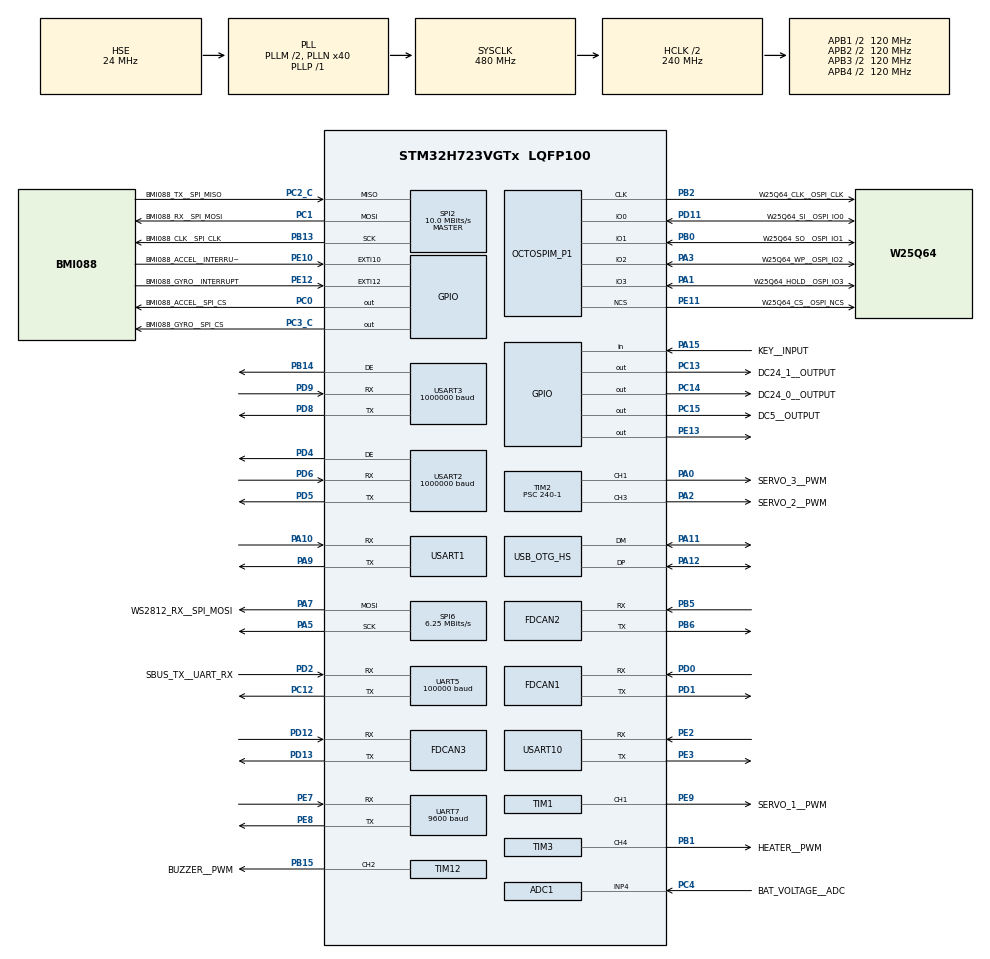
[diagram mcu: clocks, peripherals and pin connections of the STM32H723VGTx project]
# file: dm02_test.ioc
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ADC1.Channel-0\#ChannelRegularConversion=ADC_CHANNEL_4
ADC1.ClockPrescaler=ADC_CLOCK_ASYNC_DIV128
ADC1.ContinuousConvMode=ENABLE
ADC1.ConversionDataManagement=ADC_CONVERSIONDATA_DMA_CIRCULAR
ADC1.NbrOfConversion=1
ADC1.NbrOfConversionFlag=1
ADC1.OffsetNumber-0\#ChannelRegularConversion=ADC_OFFSET_NONE
ADC1.OffsetSignedSaturation-0\#ChannelRegularConversion=DISABLE
ADC1.Rank-0\#ChannelRegularConversion=1
ADC1.SamplingTime-0\#ChannelRegularConversion=ADC_SAMPLETIME_32CYCLES_5
ADC1.master=1
CORTEX_M7.BaseAddress_Spec=0x24000000
CORTEX_M7.CPU_DCache=Disabled
CORTEX_M7.CPU_ICache=Enabled
CORTEX_M7.DisableExec_Spec=MPU_INSTRUCTION_ACCESS_ENABLE
CORTEX_M7.IsBufferable_Spec=MPU_ACCESS_BUFFERABLE
CORTEX_M7.IsCacheable_Spec=MPU_ACCESS_CACHEABLE
CORTEX_M7.IsShareable_Spec=MPU_ACCESS_NOT_SHAREABLE
CORTEX_M7.MPU_Control=__NULL
CORTEX_M7.Size_Spec=MPU_REGION_SIZE_512KB
CORTEX_M7.SubRegionDisable_Spec=0x0
CORTEX_M7.TypeExtField_Spec=MPU_TEX_LEVEL1
CORTEX_M7.default_mode_Activation=1
Dma.ADC1.13.Direction=DMA_PERIPH_TO_MEMORY
Dma.ADC1.13.EventEnable=DISABLE
Dma.ADC1.13.FIFOMode=DMA_FIFOMODE_DISABLE
Dma.ADC1.13.Instance=DMA2_Stream5
Dma.ADC1.13.MemDataAlignment=DMA_MDATAALIGN_HALFWORD
Dma.ADC1.13.MemInc=DMA_MINC_ENABLE
Dma.ADC1.13.Mode=DMA_CIRCULAR
Dma.ADC1.13.PeriphDataAlignment=DMA_PDATAALIGN_HALFWORD
Dma.ADC1.13.PeriphInc=DMA_PINC_DISABLE
Dma.ADC1.13.Polarity=HAL_DMAMUX_REQ_GEN_RISING
Dma.ADC1.13.Priority=DMA_PRIORITY_LOW
Dma.ADC1.13.RequestNumber=1
Dma.ADC1.13.SignalID=NONE
Dma.ADC1.13.SyncEnable=DISABLE
Dma.ADC1.13.SyncPolarity=HAL_DMAMUX_SYNC_NO_EVENT
Dma.ADC1.13.SyncRequestNumber=1
Dma.ADC1.13.SyncSignalID=NONE
Dma.Request0=USART2_RX
Dma.Request1=USART2_TX
Dma.Request10=USART10_TX
Dma.Request11=SPI2_RX
Dma.Request12=SPI2_TX
Dma.Request13=ADC1
Dma.Request2=USART3_RX
Dma.Request3=USART3_TX
Dma.Request4=UART5_RX
Dma.Request5=USART1_RX
Dma.Request6=USART1_TX
Dma.Request7=UART7_RX
Dma.Request8=UART7_TX
Dma.Request9=USART10_RX
Dma.SPI2_RX.11.Direction=DMA_PERIPH_TO_MEMORY
Dma.SPI2_RX.11.EventEnable=DISABLE
Dma.SPI2_RX.11.FIFOMode=DMA_FIFOMODE_ENABLE
Dma.SPI2_RX.11.FIFOThreshold=DMA_FIFO_THRESHOLD_FULL
Dma.SPI2_RX.11.Instance=DMA2_Stream3
Dma.SPI2_RX.11.MemBurst=DMA_MBURST_SINGLE
Dma.SPI2_RX.11.MemDataAlignment=DMA_MDATAALIGN_BYTE
Dma.SPI2_RX.11.MemInc=DMA_MINC_ENABLE
Dma.SPI2_RX.11.Mode=DMA_NORMAL
Dma.SPI2_RX.11.PeriphBurst=DMA_PBURST_SINGLE
Dma.SPI2_RX.11.PeriphDataAlignment=DMA_PDATAALIGN_BYTE
Dma.SPI2_RX.11.PeriphInc=DMA_PINC_DISABLE
Dma.SPI2_RX.11.Polarity=HAL_DMAMUX_REQ_GEN_RISING
Dma.SPI2_RX.11.Priority=DMA_PRIORITY_LOW
Dma.SPI2_RX.11.RequestNumber=1
Dma.SPI2_RX.11.SignalID=NONE
Dma.SPI2_RX.11.SyncEnable=DISABLE
Dma.SPI2_RX.11.SyncPolarity=HAL_DMAMUX_SYNC_NO_EVENT
Dma.SPI2_RX.11.SyncRequestNumber=1
Dma.SPI2_RX.11.SyncSignalID=NONE
Dma.SPI2_TX.12.Direction=DMA_MEMORY_TO_PERIPH
Dma.SPI2_TX.12.EventEnable=DISABLE
Dma.SPI2_TX.12.FIFOMode=DMA_FIFOMODE_DISABLE
Dma.SPI2_TX.12.Instance=DMA2_Stream4
Dma.SPI2_TX.12.MemDataAlignment=DMA_MDATAALIGN_BYTE
Dma.SPI2_TX.12.MemInc=DMA_MINC_ENABLE
Dma.SPI2_TX.12.Mode=DMA_NORMAL
Dma.SPI2_TX.12.PeriphDataAlignment=DMA_PDATAALIGN_BYTE
Dma.SPI2_TX.12.PeriphInc=DMA_PINC_DISABLE
Dma.SPI2_TX.12.Polarity=HAL_DMAMUX_REQ_GEN_RISING
Dma.SPI2_TX.12.Priority=DMA_PRIORITY_LOW
Dma.SPI2_TX.12.RequestNumber=1
Dma.SPI2_TX.12.SignalID=NONE
Dma.SPI2_TX.12.SyncEnable=DISABLE
Dma.SPI2_TX.12.SyncPolarity=HAL_DMAMUX_SYNC_NO_EVENT
Dma.SPI2_TX.12.SyncRequestNumber=1
Dma.SPI2_TX.12.SyncSignalID=NONE
Dma.UART5_RX.4.Direction=DMA_PERIPH_TO_MEMORY
Dma.UART5_RX.4.EventEnable=DISABLE
Dma.UART5_RX.4.FIFOMode=DMA_FIFOMODE_ENABLE
Dma.UART5_RX.4.FIFOThreshold=DMA_FIFO_THRESHOLD_FULL
Dma.UART5_RX.4.Instance=DMA1_Stream4
Dma.UART5_RX.4.MemBurst=DMA_MBURST_SINGLE
Dma.UART5_RX.4.MemDataAlignment=DMA_MDATAALIGN_BYTE
Dma.UART5_RX.4.MemInc=DMA_MINC_ENABLE
Dma.UART5_RX.4.Mode=DMA_NORMAL
Dma.UART5_RX.4.PeriphBurst=DMA_PBURST_SINGLE
Dma.UART5_RX.4.PeriphDataAlignment=DMA_PDATAALIGN_BYTE
Dma.UART5_RX.4.PeriphInc=DMA_PINC_DISABLE
Dma.UART5_RX.4.Polarity=HAL_DMAMUX_REQ_GEN_RISING
Dma.UART5_RX.4.Priority=DMA_PRIORITY_LOW
Dma.UART5_RX.4.RequestNumber=1
Dma.UART5_RX.4.SignalID=NONE
Dma.UART5_RX.4.SyncEnable=DISABLE
Dma.UART5_RX.4.SyncPolarity=HAL_DMAMUX_SYNC_NO_EVENT
Dma.UART5_RX.4.SyncRequestNumber=1
Dma.UART5_RX.4.SyncSignalID=NONE
Dma.UART7_RX.7.Direction=DMA_PERIPH_TO_MEMORY
Dma.UART7_RX.7.EventEnable=DISABLE
Dma.UART7_RX.7.FIFOMode=DMA_FIFOMODE_ENABLE
Dma.UART7_RX.7.FIFOThreshold=DMA_FIFO_THRESHOLD_FULL
Dma.UART7_RX.7.Instance=DMA1_Stream7
Dma.UART7_RX.7.MemBurst=DMA_MBURST_SINGLE
Dma.UART7_RX.7.MemDataAlignment=DMA_MDATAALIGN_BYTE
Dma.UART7_RX.7.MemInc=DMA_MINC_ENABLE
Dma.UART7_RX.7.Mode=DMA_NORMAL
Dma.UART7_RX.7.PeriphBurst=DMA_PBURST_SINGLE
Dma.UART7_RX.7.PeriphDataAlignment=DMA_PDATAALIGN_BYTE
Dma.UART7_RX.7.PeriphInc=DMA_PINC_DISABLE
Dma.UART7_RX.7.Polarity=HAL_DMAMUX_REQ_GEN_RISING
Dma.UART7_RX.7.Priority=DMA_PRIORITY_LOW
Dma.UART7_RX.7.RequestNumber=1
Dma.UART7_RX.7.SignalID=NONE
Dma.UART7_RX.7.SyncEnable=DISABLE
Dma.UART7_RX.7.SyncPolarity=HAL_DMAMUX_SYNC_NO_EVENT
Dma.UART7_RX.7.SyncRequestNumber=1
Dma.UART7_RX.7.SyncSignalID=NONE
Dma.UART7_TX.8.Direction=DMA_MEMORY_TO_PERIPH
Dma.UART7_TX.8.EventEnable=DISABLE
Dma.UART7_TX.8.FIFOMode=DMA_FIFOMODE_ENABLE
Dma.UART7_TX.8.FIFOThreshold=DMA_FIFO_THRESHOLD_FULL
Dma.UART7_TX.8.Instance=DMA2_Stream0
Dma.UART7_TX.8.MemBurst=DMA_MBURST_SINGLE
Dma.UART7_TX.8.MemDataAlignment=DMA_MDATAALIGN_BYTE
Dma.UART7_TX.8.MemInc=DMA_MINC_ENABLE
Dma.UART7_TX.8.Mode=DMA_NORMAL
Dma.UART7_TX.8.PeriphBurst=DMA_PBURST_SINGLE
Dma.UART7_TX.8.PeriphDataAlignment=DMA_PDATAALIGN_BYTE
Dma.UART7_TX.8.PeriphInc=DMA_PINC_DISABLE
Dma.UART7_TX.8.Polarity=HAL_DMAMUX_REQ_GEN_RISING
Dma.UART7_TX.8.Priority=DMA_PRIORITY_LOW
Dma.UART7_TX.8.RequestNumber=1
Dma.UART7_TX.8.SignalID=NONE
Dma.UART7_TX.8.SyncEnable=DISABLE
Dma.UART7_TX.8.SyncPolarity=HAL_DMAMUX_SYNC_NO_EVENT
Dma.UART7_TX.8.SyncRequestNumber=1
Dma.UART7_TX.8.SyncSignalID=NONE
Dma.USART10_RX.9.Direction=DMA_PERIPH_TO_MEMORY
Dma.USART10_RX.9.EventEnable=DISABLE
Dma.USART10_RX.9.FIFOMode=DMA_FIFOMODE_DISABLE
Dma.USART10_RX.9.Instance=DMA2_Stream1
Dma.USART10_RX.9.MemDataAlignment=DMA_MDATAALIGN_BYTE
Dma.USART10_RX.9.MemInc=DMA_MINC_ENABLE
Dma.USART10_RX.9.Mode=DMA_NORMAL
Dma.USART10_RX.9.PeriphDataAlignment=DMA_PDATAALIGN_BYTE
Dma.USART10_RX.9.PeriphInc=DMA_PINC_DISABLE
Dma.USART10_RX.9.Polarity=HAL_DMAMUX_REQ_GEN_RISING
Dma.USART10_RX.9.Priority=DMA_PRIORITY_LOW
Dma.USART10_RX.9.RequestNumber=1
Dma.USART10_RX.9.SignalID=NONE
Dma.USART10_RX.9.SyncEnable=DISABLE
Dma.USART10_RX.9.SyncPolarity=HAL_DMAMUX_SYNC_NO_EVENT
Dma.USART10_RX.9.SyncRequestNumber=1
Dma.USART10_RX.9.SyncSignalID=NONE
Dma.USART10_TX.10.Direction=DMA_MEMORY_TO_PERIPH
Dma.USART10_TX.10.EventEnable=DISABLE
Dma.USART10_TX.10.FIFOMode=DMA_FIFOMODE_DISABLE
Dma.USART10_TX.10.Instance=DMA2_Stream2
Dma.USART10_TX.10.MemDataAlignment=DMA_MDATAALIGN_BYTE
Dma.USART10_TX.10.MemInc=DMA_MINC_ENABLE
Dma.USART10_TX.10.Mode=DMA_NORMAL
Dma.USART10_TX.10.PeriphDataAlignment=DMA_PDATAALIGN_BYTE
Dma.USART10_TX.10.PeriphInc=DMA_PINC_DISABLE
Dma.USART10_TX.10.Polarity=HAL_DMAMUX_REQ_GEN_RISING
Dma.USART10_TX.10.Priority=DMA_PRIORITY_LOW
Dma.USART10_TX.10.RequestNumber=1
Dma.USART10_TX.10.SignalID=NONE
Dma.USART10_TX.10.SyncEnable=DISABLE
Dma.USART10_TX.10.SyncPolarity=HAL_DMAMUX_SYNC_NO_EVENT
Dma.USART10_TX.10.SyncRequestNumber=1
Dma.USART10_TX.10.SyncSignalID=NONE
Dma.USART1_RX.5.Direction=DMA_PERIPH_TO_MEMORY
Dma.USART1_RX.5.EventEnable=DISABLE
Dma.USART1_RX.5.FIFOMode=DMA_FIFOMODE_ENABLE
Dma.USART1_RX.5.FIFOThreshold=DMA_FIFO_THRESHOLD_FULL
Dma.USART1_RX.5.Instance=DMA1_Stream5
Dma.USART1_RX.5.MemBurst=DMA_MBURST_SINGLE
Dma.USART1_RX.5.MemDataAlignment=DMA_MDATAALIGN_BYTE
Dma.USART1_RX.5.MemInc=DMA_MINC_ENABLE
Dma.USART1_RX.5.Mode=DMA_NORMAL
Dma.USART1_RX.5.PeriphBurst=DMA_PBURST_SINGLE
Dma.USART1_RX.5.PeriphDataAlignment=DMA_PDATAALIGN_BYTE
Dma.USART1_RX.5.PeriphInc=DMA_PINC_DISABLE
Dma.USART1_RX.5.Polarity=HAL_DMAMUX_REQ_GEN_RISING
Dma.USART1_RX.5.Priority=DMA_PRIORITY_LOW
Dma.USART1_RX.5.RequestNumber=1
Dma.USART1_RX.5.SignalID=NONE
Dma.USART1_RX.5.SyncEnable=DISABLE
Dma.USART1_RX.5.SyncPolarity=HAL_DMAMUX_SYNC_NO_EVENT
Dma.USART1_RX.5.SyncRequestNumber=1
Dma.USART1_RX.5.SyncSignalID=NONE
Dma.USART1_TX.6.Direction=DMA_MEMORY_TO_PERIPH
Dma.USART1_TX.6.EventEnable=DISABLE
Dma.USART1_TX.6.FIFOMode=DMA_FIFOMODE_ENABLE
Dma.USART1_TX.6.FIFOThreshold=DMA_FIFO_THRESHOLD_FULL
Dma.USART1_TX.6.Instance=DMA1_Stream6
Dma.USART1_TX.6.MemBurst=DMA_MBURST_SINGLE
Dma.USART1_TX.6.MemDataAlignment=DMA_MDATAALIGN_BYTE
Dma.USART1_TX.6.MemInc=DMA_MINC_ENABLE
Dma.USART1_TX.6.Mode=DMA_NORMAL
Dma.USART1_TX.6.PeriphBurst=DMA_PBURST_SINGLE
Dma.USART1_TX.6.PeriphDataAlignment=DMA_PDATAALIGN_BYTE
Dma.USART1_TX.6.PeriphInc=DMA_PINC_DISABLE
Dma.USART1_TX.6.Polarity=HAL_DMAMUX_REQ_GEN_RISING
Dma.USART1_TX.6.Priority=DMA_PRIORITY_LOW
Dma.USART1_TX.6.RequestNumber=1
Dma.USART1_TX.6.SignalID=NONE
Dma.USART1_TX.6.SyncEnable=DISABLE
Dma.USART1_TX.6.SyncPolarity=HAL_DMAMUX_SYNC_NO_EVENT
Dma.USART1_TX.6.SyncRequestNumber=1
Dma.USART1_TX.6.SyncSignalID=NONE
Dma.USART2_RX.0.Direction=DMA_PERIPH_TO_MEMORY
Dma.USART2_RX.0.EventEnable=DISABLE
Dma.USART2_RX.0.FIFOMode=DMA_FIFOMODE_ENABLE
Dma.USART2_RX.0.FIFOThreshold=DMA_FIFO_THRESHOLD_FULL
Dma.USART2_RX.0.Instance=DMA1_Stream1
Dma.USART2_RX.0.MemBurst=DMA_MBURST_SINGLE
Dma.USART2_RX.0.MemDataAlignment=DMA_MDATAALIGN_BYTE
Dma.USART2_RX.0.MemInc=DMA_MINC_ENABLE
Dma.USART2_RX.0.Mode=DMA_NORMAL
Dma.USART2_RX.0.PeriphBurst=DMA_PBURST_SINGLE
Dma.USART2_RX.0.PeriphDataAlignment=DMA_PDATAALIGN_BYTE
Dma.USART2_RX.0.PeriphInc=DMA_PINC_DISABLE
Dma.USART2_RX.0.Polarity=HAL_DMAMUX_REQ_GEN_RISING
Dma.USART2_RX.0.Priority=DMA_PRIORITY_LOW
Dma.USART2_RX.0.RequestNumber=1
Dma.USART2_RX.0.SignalID=NONE
Dma.USART2_RX.0.SyncEnable=DISABLE
Dma.USART2_RX.0.SyncPolarity=HAL_DMAMUX_SYNC_NO_EVENT
Dma.USART2_RX.0.SyncRequestNumber=1
Dma.USART2_RX.0.SyncSignalID=NONE
Dma.USART2_TX.1.Direction=DMA_MEMORY_TO_PERIPH
Dma.USART2_TX.1.EventEnable=DISABLE
Dma.USART2_TX.1.FIFOMode=DMA_FIFOMODE_ENABLE
Dma.USART2_TX.1.FIFOThreshold=DMA_FIFO_THRESHOLD_FULL
Dma.USART2_TX.1.Instance=DMA1_Stream0
Dma.USART2_TX.1.MemBurst=DMA_MBURST_SINGLE
Dma.USART2_TX.1.MemDataAlignment=DMA_MDATAALIGN_BYTE
Dma.USART2_TX.1.MemInc=DMA_MINC_ENABLE
Dma.USART2_TX.1.Mode=DMA_NORMAL
Dma.USART2_TX.1.PeriphBurst=DMA_PBURST_SINGLE
Dma.USART2_TX.1.PeriphDataAlignment=DMA_PDATAALIGN_BYTE
Dma.USART2_TX.1.PeriphInc=DMA_PINC_DISABLE
Dma.USART2_TX.1.Polarity=HAL_DMAMUX_REQ_GEN_RISING
Dma.USART2_TX.1.Priority=DMA_PRIORITY_LOW
Dma.USART2_TX.1.RequestNumber=1
Dma.USART2_TX.1.SignalID=NONE
Dma.USART2_TX.1.SyncEnable=DISABLE
Dma.USART2_TX.1.SyncPolarity=HAL_DMAMUX_SYNC_NO_EVENT
Dma.USART2_TX.1.SyncRequestNumber=1
Dma.USART2_TX.1.SyncSignalID=NONE
Dma.USART3_RX.2.Direction=DMA_PERIPH_TO_MEMORY
Dma.USART3_RX.2.EventEnable=DISABLE
Dma.USART3_RX.2.FIFOMode=DMA_FIFOMODE_ENABLE
Dma.USART3_RX.2.FIFOThreshold=DMA_FIFO_THRESHOLD_FULL
Dma.USART3_RX.2.Instance=DMA1_Stream2
Dma.USART3_RX.2.MemBurst=DMA_MBURST_SINGLE
Dma.USART3_RX.2.MemDataAlignment=DMA_MDATAALIGN_BYTE
Dma.USART3_RX.2.MemInc=DMA_MINC_ENABLE
Dma.USART3_RX.2.Mode=DMA_NORMAL
Dma.USART3_RX.2.PeriphBurst=DMA_PBURST_SINGLE
Dma.USART3_RX.2.PeriphDataAlignment=DMA_PDATAALIGN_BYTE
Dma.USART3_RX.2.PeriphInc=DMA_PINC_DISABLE
Dma.USART3_RX.2.Polarity=HAL_DMAMUX_REQ_GEN_RISING
Dma.USART3_RX.2.Priority=DMA_PRIORITY_LOW
Dma.USART3_RX.2.RequestNumber=1
Dma.USART3_RX.2.SignalID=NONE
Dma.USART3_RX.2.SyncEnable=DISABLE
Dma.USART3_RX.2.SyncPolarity=HAL_DMAMUX_SYNC_NO_EVENT
Dma.USART3_RX.2.SyncRequestNumber=1
Dma.USART3_RX.2.SyncSignalID=NONE
Dma.USART3_TX.3.Direction=DMA_MEMORY_TO_PERIPH
Dma.USART3_TX.3.EventEnable=DISABLE
Dma.USART3_TX.3.FIFOMode=DMA_FIFOMODE_ENABLE
Dma.USART3_TX.3.FIFOThreshold=DMA_FIFO_THRESHOLD_FULL
Dma.USART3_TX.3.Instance=DMA1_Stream3
Dma.USART3_TX.3.MemBurst=DMA_MBURST_SINGLE
Dma.USART3_TX.3.MemDataAlignment=DMA_MDATAALIGN_BYTE
Dma.USART3_TX.3.MemInc=DMA_MINC_ENABLE
Dma.USART3_TX.3.Mode=DMA_NORMAL
Dma.USART3_TX.3.PeriphBurst=DMA_PBURST_SINGLE
Dma.USART3_TX.3.PeriphDataAlignment=DMA_PDATAALIGN_BYTE
Dma.USART3_TX.3.PeriphInc=DMA_PINC_DISABLE
Dma.USART3_TX.3.Polarity=HAL_DMAMUX_REQ_GEN_RISING
Dma.USART3_TX.3.Priority=DMA_PRIORITY_LOW
Dma.USART3_TX.3.RequestNumber=1
Dma.USART3_TX.3.SignalID=NONE
Dma.USART3_TX.3.SyncEnable=DISABLE
Dma.USART3_TX.3.SyncPolarity=HAL_DMAMUX_SYNC_NO_EVENT
Dma.USART3_TX.3.SyncRequestNumber=1
Dma.USART3_TX.3.SyncSignalID=NONE
FDCAN1.AutoRetransmission=ENABLE
FDCAN1.CalculateBaudRateNominal=1000000
FDCAN1.CalculateTimeBitNominal=1000
FDCAN1.CalculateTimeQuantumNominal=25.0
FDCAN1.DataPrescaler=3
FDCAN1.DataSyncJumpWidth=10
FDCAN1.DataTimeSeg1=29
FDCAN1.DataTimeSeg2=10
FDCAN1.NominalPrescaler=3
FDCAN1.NominalSyncJumpWidth=10
FDCAN1.NominalTimeSeg1=29
FDCAN1.NominalTimeSeg2=10
FDCAN1.ProtocolException=DISABLE
FDCAN1.RxFifo0ElmtsNbr=16
FDCAN1.RxFifo1ElmtsNbr=0
FDCAN1.StdFiltersNbr=1
FDCAN1.TxFifoQueueElmtsNbr=8
FDCAN2.AutoRetransmission=ENABLE
FDCAN2.CalculateBaudRateNominal=1000000
FDCAN2.CalculateTimeBitNominal=1000
FDCAN2.CalculateTimeQuantumNominal=25.0
FDCAN2.DataPrescaler=3
FDCAN2.DataSyncJumpWidth=10
FDCAN2.DataTimeSeg1=29
FDCAN2.DataTimeSeg2=10
FDCAN2.MessageRAMOffset=853
FDCAN2.NominalPrescaler=3
FDCAN2.NominalSyncJumpWidth=10
FDCAN2.NominalTimeSeg1=29
FDCAN2.NominalTimeSeg2=10
FDCAN2.RxFifo0ElmtsNbr=16
FDCAN2.RxFifo1ElmtsNbr=0
FDCAN2.StdFiltersNbr=1
FDCAN2.TxFifoQueueElmtsNbr=8
FDCAN3.AutoRetransmission=ENABLE
FDCAN3.CalculateBaudRateNominal=1000000
FDCAN3.CalculateTimeBitNominal=1000
FDCAN3.CalculateTimeQuantumNominal=25.0
FDCAN3.DataPrescaler=3
FDCAN3.DataSyncJumpWidth=10
FDCAN3.DataTimeSeg1=29
FDCAN3.DataTimeSeg2=10
FDCAN3.MessageRAMOffset=1706
FDCAN3.NominalPrescaler=3
FDCAN3.NominalSyncJumpWidth=10
FDCAN3.NominalTimeSeg1=29
FDCAN3.NominalTimeSeg2=10
FDCAN3.RxFifo0ElmtsNbr=16
FDCAN3.RxFifo1ElmtsNbr=0
FDCAN3.StdFiltersNbr=1
FDCAN3.TxFifoQueueElmtsNbr=8
FREERTOS.Tasks01=Task_KFS_Arm,24,512,Task_KFS_Arm_main,Default,NULL,Dynamic,NULL,NULL;Task_UART,8,512,Task_UART_main,Default,NULL,Dynamic,NULL,NULL;HandleClamping_,24,512,StartHandleClamping_Task,Default,NULL,Dynamic,NULL,NULL;Chassis,8,512,StartTaskChassis,Default,NULL,Dynamic,NULL,NULL
IWDG1.Prescaler=IWDG_PRESCALER_256
IWDG1.Reload=1023
IWDG1.Window=1023
Mcu.Family=STM32H7
Mcu.Name=STM32H723VGTx
Mcu.Package=LQFP100
Mdma.MDMA_Channel0.OCTOSPI2_FIFO_TH.0.BlockCount=0
Mdma.MDMA_Channel0.OCTOSPI2_FIFO_TH.0.BlockDataLength=0
Mdma.MDMA_Channel0.OCTOSPI2_FIFO_TH.0.BufferTransferLength=1
Mdma.MDMA_Channel0.OCTOSPI2_FIFO_TH.0.CircularMode=MDMA_LINEAR_LIST
Mdma.MDMA_Channel0.OCTOSPI2_FIFO_TH.0.DataAlignment=MDMA_DATAALIGN_PACKENABLE
Mdma.MDMA_Channel0.OCTOSPI2_FIFO_TH.0.DestBlockAddressOffset=0
Mdma.MDMA_Channel0.OCTOSPI2_FIFO_TH.0.DestBurst=MDMA_DEST_BURST_SINGLE
Mdma.MDMA_Channel0.OCTOSPI2_FIFO_TH.0.DestDataSize=MDMA_DEST_DATASIZE_BYTE
Mdma.MDMA_Channel0.OCTOSPI2_FIFO_TH.0.DestinationInc=MDMA_DEST_INC_BYTE
Mdma.MDMA_Channel0.OCTOSPI2_FIFO_TH.0.DstAddress=0
Mdma.MDMA_Channel0.OCTOSPI2_FIFO_TH.0.Endianness=MDMA_LITTLE_ENDIANNESS_PRESERVE
Mdma.MDMA_Channel0.OCTOSPI2_FIFO_TH.0.Instance=MDMA_Channel0
Mdma.MDMA_Channel0.OCTOSPI2_FIFO_TH.0.MaskAddress=0
Mdma.MDMA_Channel0.OCTOSPI2_FIFO_TH.0.MaskData=0
Mdma.MDMA_Channel0.OCTOSPI2_FIFO_TH.0.Priority=MDMA_PRIORITY_LOW
Mdma.MDMA_Channel0.OCTOSPI2_FIFO_TH.0.Rank=First
Mdma.MDMA_Channel0.OCTOSPI2_FIFO_TH.0.SourceBlockAddressOffset=0
Mdma.MDMA_Channel0.OCTOSPI2_FIFO_TH.0.SourceBurst=MDMA_SOURCE_BURST_SINGLE
Mdma.MDMA_Channel0.OCTOSPI2_FIFO_TH.0.SourceDataSize=MDMA_SRC_DATASIZE_BYTE
Mdma.MDMA_Channel0.OCTOSPI2_FIFO_TH.0.SourceInc=MDMA_SRC_INC_BYTE
Mdma.MDMA_Channel0.OCTOSPI2_FIFO_TH.0.SrcAddress=0
Mdma.MDMA_Channel0.OCTOSPI2_FIFO_TH.0.TransferTriggerMode=MDMA_BUFFER_TRANSFER
Mdma.MDMA_Channel0.Request0=OCTOSPI2_FIFO_TH
Mdma.MDMA_Channel0.RequestsNb=1
Mdma.RequestSet0=MDMA_Channel0
Mdma.RequestSetsNb=1
NVIC.DMA1_Stream0_IRQn=true\:5\:0\:false\:false\:true\:true\:false\:true\:true
NVIC.DMA1_Stream1_IRQn=true\:5\:0\:false\:false\:true\:true\:false\:true\:true
NVIC.DMA1_Stream2_IRQn=true\:5\:0\:false\:false\:true\:true\:false\:true\:true
NVIC.DMA1_Stream3_IRQn=true\:5\:0\:false\:false\:true\:true\:false\:true\:true
NVIC.DMA1_Stream4_IRQn=true\:5\:0\:false\:false\:true\:true\:false\:true\:true
NVIC.DMA1_Stream5_IRQn=true\:5\:0\:false\:false\:true\:true\:false\:true\:true
NVIC.DMA1_Stream6_IRQn=true\:5\:0\:false\:false\:true\:true\:false\:true\:true
NVIC.DMA1_Stream7_IRQn=true\:5\:0\:false\:false\:true\:true\:false\:true\:true
NVIC.DMA2_Stream0_IRQn=true\:5\:0\:false\:false\:true\:true\:false\:true\:true
NVIC.DMA2_Stream1_IRQn=true\:5\:0\:false\:false\:true\:true\:false\:true\:true
NVIC.DMA2_Stream2_IRQn=true\:5\:0\:false\:false\:true\:true\:false\:true\:true
NVIC.DMA2_Stream3_IRQn=true\:5\:0\:false\:false\:true\:true\:false\:true\:true
NVIC.DMA2_Stream4_IRQn=true\:5\:0\:false\:false\:true\:true\:false\:true\:true
NVIC.DMA2_Stream5_IRQn=true\:5\:0\:false\:false\:true\:true\:false\:true\:true
NVIC.EXTI15_10_IRQn=true\:5\:0\:true\:false\:true\:true\:true\:true\:true
NVIC.FDCAN1_IT0_IRQn=true\:5\:0\:false\:false\:true\:true\:true\:true\:true
NVIC.FDCAN1_IT1_IRQn=true\:5\:0\:false\:false\:true\:true\:true\:true\:true
NVIC.FDCAN2_IT0_IRQn=true\:5\:0\:false\:false\:true\:true\:true\:true\:true
NVIC.FDCAN2_IT1_IRQn=true\:5\:0\:false\:false\:true\:true\:true\:true\:true
NVIC.FDCAN3_IT0_IRQn=true\:5\:0\:false\:false\:true\:true\:true\:true\:true
NVIC.FDCAN3_IT1_IRQn=true\:5\:0\:false\:false\:true\:true\:true\:true\:true
NVIC.MDMA_IRQn=true\:5\:0\:false\:false\:true\:true\:false\:true\:true
NVIC.OCTOSPI2_IRQn=true\:5\:0\:false\:false\:true\:true\:true\:true\:true
NVIC.OTG_HS_IRQn=true\:5\:0\:false\:false\:true\:true\:false\:true\:true
NVIC.PriorityGroup=NVIC_PRIORITYGROUP_4
NVIC.SPI2_IRQn=true\:5\:0\:false\:false\:true\:true\:false\:true\:true
NVIC.TIM4_IRQn=true\:5\:0\:true\:false\:true\:true\:true\:true\:true
NVIC.TIM5_IRQn=true\:5\:0\:true\:false\:true\:true\:true\:true\:true
NVIC.TIM6_DAC_IRQn=true\:5\:0\:true\:false\:true\:true\:true\:true\:true
NVIC.TIM7_IRQn=true\:5\:0\:true\:false\:true\:true\:true\:true\:true
NVIC.TIM8_UP_TIM13_IRQn=true\:5\:0\:true\:false\:true\:true\:true\:true\:true
NVIC.UART5_IRQn=true\:5\:0\:true\:false\:true\:true\:true\:true\:true
NVIC.UART7_IRQn=true\:5\:0\:true\:false\:true\:true\:true\:true\:true
NVIC.USART10_IRQn=true\:5\:0\:true\:false\:true\:true\:true\:true\:true
NVIC.USART1_IRQn=true\:5\:0\:true\:false\:true\:true\:true\:true\:true
NVIC.USART2_IRQn=true\:5\:0\:true\:false\:true\:true\:true\:true\:true
NVIC.USART3_IRQn=true\:5\:0\:true\:false\:true\:true\:true\:true\:true
OCTOSPI2.ClockMode=HAL_OSPI_CLOCK_MODE_3
OCTOSPI2.ClockPrescaler=2
OCTOSPI2.DeviceSize=23
OCTOSPI2.FifoThreshold=1
OCTOSPI2.SampleShifting=HAL_OSPI_SAMPLE_SHIFTING_HALFCYCLE
PA0.GPIO_Label=SERVO_3__PWM
PA0.Signal=S_TIM2_CH1_ETR
PA1.GPIO_Label=W25Q64_HOLD__OSPI_IO3
PA1.Mode=OCTOSPI2_IOL_Port1L
PA1.Signal=OCTOSPIM_P1_IO3
PA10.Mode=Asynchronous
PA10.Signal=USART1_RX
PA11.Mode=Device_Only_FS
PA11.Signal=USB_OTG_HS_DM
PA12.Mode=Device_Only_FS
PA12.Signal=USB_OTG_HS_DP
PA13(JTMS/SWDIO).Mode=Serial_Wire
PA13(JTMS/SWDIO).Signal=DEBUG_JTMS-SWDIO
PA14(JTCK/SWCLK).Mode=Serial_Wire
PA14(JTCK/SWCLK).Signal=DEBUG_JTCK-SWCLK
PA15(JTDI).GPIO_Label=KEY__INPUT
PA15(JTDI).Signal=GPIO_Input
PA2.GPIO_Label=SERVO_2__PWM
PA2.Signal=S_TIM2_CH3
PA3.GPIO_Label=W25Q64_WP__OSPI_IO2
PA3.Mode=OCTOSPI2_IOL_Port1L
PA3.Signal=OCTOSPIM_P1_IO2
PA5.GPIO_Speed=GPIO_SPEED_FREQ_VERY_HIGH
PA5.Mode=TX_Only_Simplex_Unidirect_Master
PA5.Signal=SPI6_SCK
PA7.GPIO_Label=WS2812_RX__SPI_MOSI
PA7.GPIO_Speed=GPIO_SPEED_FREQ_VERY_HIGH
PA7.Mode=TX_Only_Simplex_Unidirect_Master
PA7.Signal=SPI6_MOSI
PA9.Mode=Asynchronous
PA9.Signal=USART1_TX
PB0.GPIO_Label=W25Q64_SO__OSPI_IO1
PB0.Mode=OCTOSPI2_IOL_Port1L
PB0.Signal=OCTOSPIM_P1_IO1
PB1.GPIO_Label=HEATER__PWM
PB1.Signal=S_TIM3_CH4
PB13.GPIO_Label=BMI088_CLK__SPI_CLK
PB13.GPIO_Speed=GPIO_SPEED_FREQ_VERY_HIGH
PB13.Mode=Full_Duplex_Master
PB13.Signal=SPI2_SCK
PB14.Mode=Hardware Flow Control (RS485)
PB14.Signal=USART3_DE
PB15.GPIO_Label=BUZZER__PWM
PB15.Signal=S_TIM12_CH2
PB2.GPIO_Label=W25Q64_CLK__OSPI_CLK
PB2.Mode=O2_P1_CLK
PB2.Signal=OCTOSPIM_P1_CLK
PB5.Mode=FDCAN_Activate
PB5.Signal=FDCAN2_RX
PB6.Mode=FDCAN_Activate
PB6.Signal=FDCAN2_TX
PC0.GPIO_Label=BMI088_ACCEL__SPI_CS
PC0.GPIO_Speed=GPIO_SPEED_FREQ_VERY_HIGH
PC0.PinState=GPIO_PIN_SET
PC0.Signal=GPIO_Output
PC1.GPIO_Label=BMI088_RX__SPI_MOSI
PC1.GPIO_Speed=GPIO_SPEED_FREQ_VERY_HIGH
PC1.Mode=Full_Duplex_Master
PC1.Signal=SPI2_MOSI
PC12.Mode=Asynchronous
PC12.Signal=UART5_TX
PC13.GPIO_Label=DC24_1__OUTPUT
PC13.PinState=GPIO_PIN_RESET
PC13.Signal=GPIO_Output
PC14-OSC32_IN.GPIO_Label=DC24_0__OUTPUT
PC14-OSC32_IN.Signal=GPIO_Output
PC15-OSC32_OUT.GPIO_Label=DC5__OUTPUT
PC15-OSC32_OUT.PinState=GPIO_PIN_RESET
PC15-OSC32_OUT.Signal=GPIO_Output
PC2_C.GPIO_Label=BMI088_TX__SPI_MISO
PC2_C.GPIO_Speed=GPIO_SPEED_FREQ_VERY_HIGH
PC2_C.Mode=Full_Duplex_Master
PC2_C.Signal=SPI2_MISO
PC3_C.GPIO_Label=BMI088_GYRO__SPI_CS
PC3_C.GPIO_Speed=GPIO_SPEED_FREQ_VERY_HIGH
PC3_C.PinState=GPIO_PIN_SET
PC3_C.Signal=GPIO_Output
PC4.GPIO_Label=BAT_VOLTAGE__ADC
PC4.Signal=ADCx_INP4
PD0.Mode=FDCAN_Activate
PD0.Signal=FDCAN1_RX
PD1.Mode=FDCAN_Activate
PD1.Signal=FDCAN1_TX
PD11.GPIO_Label=W25Q64_SI__OSPI_IO0
PD11.Mode=OCTOSPI2_IOL_Port1L
PD11.Signal=OCTOSPIM_P1_IO0
PD12.Mode=FDCAN_Activate
PD12.Signal=FDCAN3_RX
PD13.Mode=FDCAN_Activate
PD13.Signal=FDCAN3_TX
PD2.GPIO_Label=SBUS_TX__UART_RX
PD2.Mode=Asynchronous
PD2.Signal=UART5_RX
PD4.Mode=Hardware Flow Control (RS485)
PD4.Signal=USART2_DE
PD5.Mode=Asynchronous
PD5.Signal=USART2_TX
PD6.Mode=Asynchronous
PD6.Signal=USART2_RX
PD8.Mode=Asynchronous
PD8.Signal=USART3_TX
PD9.Mode=Asynchronous
PD9.Signal=USART3_RX
PE10.GPIO_Label=BMI088_ACCEL__INTERRUPT
PE10.Signal=GPXTI10
PE11.GPIO_Label=W25Q64_CS__OSPI_NCS
PE11.Mode=OCTOSPI2_Port1_NCS
PE11.Signal=OCTOSPIM_P1_NCS
PE12.GPIO_Label=BMI088_GYRO__INTERRUPT
PE12.Signal=GPXTI12
PE13.Signal=GPIO_Output
PE2.Mode=Asynchronous
PE2.Signal=USART10_RX
PE3.Mode=Asynchronous
PE3.Signal=USART10_TX
PE7.Mode=Asynchronous
PE7.Signal=UART7_RX
PE8.Mode=Asynchronous
PE8.Signal=UART7_TX
PE9.GPIO_Label=SERVO_1__PWM
PE9.Signal=S_TIM1_CH1
PH0-OSC_IN.Mode=HSE-External-Oscillator
PH0-OSC_IN.Signal=RCC_OSC_IN
PH1-OSC_OUT.Mode=HSE-External-Oscillator
PH1-OSC_OUT.Signal=RCC_OSC_OUT
ProjectManager.HeapSize=0x4000
ProjectManager.StackSize=0x8000
ProjectManager.TargetToolchain=CMake
RCC.ADCCLockSelection=RCC_ADCCLKSOURCE_CLKP
RCC.ADCFreq_Value=24000000
RCC.APB1Freq_Value=120000000
RCC.APB2Freq_Value=120000000
RCC.APB3Freq_Value=120000000
RCC.APB4Freq_Value=120000000
RCC.CKPERSourceSelection=RCC_CLKPSOURCE_HSE
RCC.CortexFreq_Value=480000000
RCC.D1PPRE=RCC_APB3_DIV2
RCC.D2PPRE1=RCC_APB1_DIV2
RCC.D2PPRE2=RCC_APB2_DIV2
RCC.D3PPRE=RCC_APB4_DIV2
RCC.DIVM1=2
RCC.DIVM2=12
RCC.DIVM3=24
RCC.DIVN1=40
RCC.DIVN2=100
RCC.DIVN3=160
RCC.DIVP1=1
RCC.DIVQ1=4
RCC.DIVQ2=4
RCC.HCLKFreq_Value=240000000
RCC.HPRE=RCC_HCLK_DIV2
RCC.HSE_VALUE=24000000
RCC.PLL2FRACN=0
RCC.PLLFRACN=0
RCC.PLLSourceVirtual=RCC_PLLSOURCE_HSE
RCC.SPI123CLockSelection=RCC_SPI123CLKSOURCE_PLL3
RCC.SPI6CLockSelection=RCC_SPI6CLKSOURCE_PLL2
RCC.SYSCLKFreq_VALUE=480000000
RCC.SYSCLKSource=RCC_SYSCLKSOURCE_PLLCLK
RCC.USBCLockSelection=RCC_USBCLKSOURCE_HSI48
RCC.USBFreq_Value=48000000
SH.ADCx_INP4.0=ADC1_INP4,IN4-Single-Ended
SH.S_TIM12_CH2.0=TIM12_CH2,PWM Generation2 CH2
SH.S_TIM1_CH1.0=TIM1_CH1,PWM Generation1 CH1
SH.S_TIM2_CH1_ETR.0=TIM2_CH1,PWM Generation1 CH1
SH.S_TIM2_CH3.0=TIM2_CH3,PWM Generation3 CH3
SH.S_TIM3_CH4.0=TIM3_CH4,PWM Generation4 CH4
SPI2.BaudRatePrescaler=SPI_BAUDRATEPRESCALER_8
SPI2.CLKPhase=SPI_PHASE_2EDGE
SPI2.CLKPolarity=SPI_POLARITY_HIGH
SPI2.CalculateBaudRate=10.0 MBits/s
SPI2.DataSize=SPI_DATASIZE_8BIT
SPI2.Direction=SPI_DIRECTION_2LINES
SPI2.Mode=SPI_MODE_MASTER
SPI2.VirtualType=VM_MASTER
SPI6.BaudRatePrescaler=SPI_BAUDRATEPRESCALER_8
SPI6.CLKPolarity=SPI_POLARITY_LOW
SPI6.CalculateBaudRate=6.25 MBits/s
SPI6.DataSize=SPI_DATASIZE_8BIT
SPI6.Direction=SPI_DIRECTION_2LINES_TXONLY
SPI6.FirstBit=SPI_FIRSTBIT_MSB
SPI6.Mode=SPI_MODE_MASTER
SPI6.VirtualType=VM_MASTER
STMicroelectronics.X-CUBE-ALGOBUILD.1.4.0.LibraryCcDSPOoLibraryJjDSPOoLibrary=true
TIM1.AutoReloadPreload=TIM_AUTORELOAD_PRELOAD_ENABLE
TIM1.Channel-PWM\ Generation1\ CH1=TIM_CHANNEL_1
TIM1.OC1Preload_PWM=DISABLE
TIM1.Period=10000-1
TIM1.Prescaler=240-1
TIM12.Channel-PWM\ Generation2\ CH2=TIM_CHANNEL_2
TIM12.OC2Preload_PWM=DISABLE
TIM12.Period=250-1
TIM12.Prescaler=240-1
TIM2.AutoReloadPreload=TIM_AUTORELOAD_PRELOAD_ENABLE
TIM2.Channel-PWM\ Generation1\ CH1=TIM_CHANNEL_1
TIM2.Channel-PWM\ Generation3\ CH3=TIM_CHANNEL_3
TIM2.OC1Preload_PWM=DISABLE
TIM2.OC3Preload_PWM=DISABLE
TIM2.Period=10000-1
TIM2.Prescaler=240-1
TIM3.Channel-PWM\ Generation4\ CH4=TIM_CHANNEL_4
TIM3.Period=10000-1
TIM3.Prescaler=240-1
TIM4.Period=10-1
TIM4.Prescaler=240-1
TIM5.Period=3600000000-1
TIM5.Prescaler=240-1
TIM6.Period=10000-1
TIM6.Prescaler=24000-1
TIM7.Period=1000-1
TIM7.Prescaler=240-1
TIM8.Period=125-1
TIM8.Prescaler=240-1
UART5.BaudRate=100000
UART5.Mode=MODE_RX
UART5.Parity=PARITY_EVEN
UART5.StopBits=UART_STOPBITS_2
UART5.WordLength=WORDLENGTH_9B
UART7.BaudRate=9600
USART1.VirtualMode-Asynchronous=VM_ASYNC
USART10.VirtualMode=VM_ASYNC
USART2.BaudRate=1000000
USART2.VirtualMode-Asynchronous=VM_ASYNC
USART2.VirtualMode-Hardware\ Flow\ Control\ (RS485)=VM_ASYNC
USART3.BaudRate=1000000
USART3.VirtualMode-Asynchronous=VM_ASYNC
USART3.VirtualMode-Hardware\ Flow\ Control\ (RS485)=VM_ASYNC
USB_DEVICE.CLASS_NAME_HS=CDC
USB_DEVICE.MANUFACTURER_STRING=DM_MC02_test_FS
USB_DEVICE.PRODUCT_STRING_CDC_HS=DM_MC02_test_HS
USB_DEVICE.USBD_LPM_ENABLED=1
USB_DEVICE.USBD_MAX_NUM_INTERFACES=1
USB_DEVICE.USBD_SELF_POWERED=1
USB_DEVICE.VirtualMode=Cdc
USB_DEVICE.VirtualModeHS=Cdc_HS
USB_OTG_HS.VirtualMode-Device_Only_FS=Device_Only_FS
USB_OTG_HS.dma_enable-Device_Only_FS=DISABLE
VP_CORDIC_VS_CORDIC.Mode=CORDIC_Activate
VP_FREERTOS_VS_CMSIS_V2.Mode=CMSIS_V2
VP_IWDG1_VS_IWDG.Mode=IWDG_Activate
VP_MEMORYMAP_VS_MEMORYMAP.Mode=CurAppReg
VP_OCTOSPI2_VS_octo.Mode=octo_mode
VP_STMicroelectronics.X-CUBE-ALGOBUILD_VS_DSPOoLibraryJjLibrary_1.4.0_1.4.0.Mode=DSPOoLibraryJjLibrary
VP_TIM4_VS_ClockSourceINT.Mode=Internal
VP_TIM5_VS_ClockSourceINT.Mode=Internal
VP_TIM6_VS_ClockSourceINT.Mode=Enable_Timer
VP_TIM7_VS_ClockSourceINT.Mode=Enable_Timer
VP_TIM8_VS_ClockSourceINT.Mode=Internal
VP_USB_DEVICE_VS_USB_DEVICE_CDC_HS.Mode=CDC_HS
board=custom

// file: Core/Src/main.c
/* USER CODE BEGIN Header */
/**
  ******************************************************************************
  * @file           : main.c
  * @brief          : Main program body
  ******************************************************************************
  * @attention
  *
  * Copyright (c) 2025 STMicroelectronics.
  * All rights reserved.
  *
  * This software is licensed under terms that can be found in the LICENSE file
  * in the root directory of this software component.
  * If no LICENSE file comes with this software, it is provided AS-IS.
  *
  ******************************************************************************
  */
/* USER CODE END Header */
#include "main.h"
#include "cmsis_os.h"
#include "adc.h"
#include "cordic.h"
#include "dma.h"
#include "fdcan.h"
#include "iwdg.h"
#include "mdma.h"
#include "octospi.h"
#include "spi.h"
#include "tim.h"
#include "usart.h"
#include "usb_device.h"
#include "gpio.h"

/* USER CODE BEGIN Includes */
#include "Task_KFS_Arm.h"
#include "Task_UART.h"
#include "tsk_config_and_callback.h"
/* USER CODE END Includes */

void SystemClock_Config(void);
void PeriphCommonClock_Config(void);
void MX_FREERTOS_Init(void);

int main(void)
{

  /* Enable the CPU Cache */

  /* Enable I-Cache---------------------------------------------------------*/
  SCB_EnableICache();

  /* MCU Configuration--------------------------------------------------------*/

  /* Reset of all peripherals, Initializes the Flash interface and the Systick. */
  HAL_Init();

  /* Configure the system clock */
  SystemClock_Config();

  /* Configure the peripherals common clocks */
  PeriphCommonClock_Config();

  /* USER CODE BEGIN SysInit */
  // HAL_Delay(2000);
  /* USER CODE END SysInit */

  /* Initialize all configured peripherals */
  MX_GPIO_Init();
  MX_DMA_Init();
  MX_MDMA_Init();
  MX_ADC1_Init();
  MX_FDCAN1_Init();
  MX_FDCAN2_Init();
  MX_FDCAN3_Init();
  MX_USART1_UART_Init();
  MX_USART2_UART_Init();
  MX_USART3_UART_Init();
  MX_UART5_Init();
  MX_UART7_Init();
  MX_USART10_UART_Init();
  MX_SPI2_Init();
  MX_SPI6_Init();
  // MX_IWDG1_Init();
  MX_TIM1_Init();
  MX_TIM2_Init();
  MX_TIM3_Init();
  MX_TIM5_Init();
  MX_TIM6_Init();
  MX_TIM12_Init();
  MX_TIM7_Init();
  MX_TIM8_Init();
  MX_CORDIC_Init();
  MX_OCTOSPI2_Init();
  MX_TIM4_Init();
  /* USER CODE BEGIN 2 */
  Task_Init();
  /* 初始化已移至 MX_FREERTOS_Init() 中，避免重复调用 */
  /* USER CODE END 2 */

  /* Init scheduler */
  osKernelInitialize();  /* Call init function for freertos objects (in cmsis_os2.c) */
  MX_FREERTOS_Init();

  /* Start scheduler */
  osKernelStart();

  /* We should never get here as control is now taken by the scheduler */

  /* Infinite loop */
    while (1)
    {

    }
}

void SystemClock_Config(void)
{
  RCC_OscInitTypeDef RCC_OscInitStruct = {0};
  RCC_ClkInitTypeDef RCC_ClkInitStruct = {0};

  /** Supply configuration update enable
  */
  HAL_PWREx_ConfigSupply(PWR_LDO_SUPPLY);

  /** Configure the main internal regulator output voltage
  */
  __HAL_PWR_VOLTAGESCALING_CONFIG(PWR_REGULATOR_VOLTAGE_SCALE0);

  while(!__HAL_PWR_GET_FLAG(PWR_FLAG_VOSRDY)) {}

  /** Initializes the RCC Oscillators according to the specified parameters
  * in the RCC_OscInitTypeDef structure.
  */
  RCC_OscInitStruct.OscillatorType = RCC_OSCILLATORTYPE_HSI48|RCC_OSCILLATORTYPE_LSI
                              |RCC_OSCILLATORTYPE_HSE;
  RCC_OscInitStruct.HSEState = RCC_HSE_ON;
  RCC_OscInitStruct.LSIState = RCC_LSI_ON;
  RCC_OscInitStruct.HSI48State = RCC_HSI48_ON;
  RCC_OscInitStruct.PLL.PLLState = RCC_PLL_ON;
  RCC_OscInitStruct.PLL.PLLSource = RCC_PLLSOURCE_HSE;
  RCC_OscInitStruct.PLL.PLLM = 2;
  RCC_OscInitStruct.PLL.PLLN = 40;
  RCC_OscInitStruct.PLL.PLLP = 1;
  RCC_OscInitStruct.PLL.PLLQ = 4;
  RCC_OscInitStruct.PLL.PLLR = 2;
  RCC_OscInitStruct.PLL.PLLRGE = RCC_PLL1VCIRANGE_3;
  RCC_OscInitStruct.PLL.PLLVCOSEL = RCC_PLL1VCOWIDE;
  RCC_OscInitStruct.PLL.PLLFRACN = 0;
  if (HAL_RCC_OscConfig(&RCC_OscInitStruct) != HAL_OK)
  {
    Error_Handler();
  }

  /** Initializes the CPU, AHB and APB buses clocks
  */
  RCC_ClkInitStruct.ClockType = RCC_CLOCKTYPE_HCLK|RCC_CLOCKTYPE_SYSCLK
                              |RCC_CLOCKTYPE_PCLK1|RCC_CLOCKTYPE_PCLK2
                              |RCC_CLOCKTYPE_D3PCLK1|RCC_CLOCKTYPE_D1PCLK1;
  RCC_ClkInitStruct.SYSCLKSource = RCC_SYSCLKSOURCE_PLLCLK;
  RCC_ClkInitStruct.SYSCLKDivider = RCC_SYSCLK_DIV1;
  RCC_ClkInitStruct.AHBCLKDivider = RCC_HCLK_DIV2;
  RCC_ClkInitStruct.APB3CLKDivider = RCC_APB3_DIV2;
  RCC_ClkInitStruct.APB1CLKDivider = RCC_APB1_DIV2;
  RCC_ClkInitStruct.APB2CLKDivider = RCC_APB2_DIV2;
  RCC_ClkInitStruct.APB4CLKDivider = RCC_APB4_DIV2;

  if (HAL_RCC_ClockConfig(&RCC_ClkInitStruct, FLASH_LATENCY_3) != HAL_OK)
  {
    Error_Handler();
  }
}

void PeriphCommonClock_Config(void)
{
  RCC_PeriphCLKInitTypeDef PeriphClkInitStruct = {0};

  /** Initializes the peripherals clock
  */
  PeriphClkInitStruct.PeriphClockSelection = RCC_PERIPHCLK_CKPER;
  PeriphClkInitStruct.CkperClockSelection = RCC_CLKPSOURCE_HSE;
  if (HAL_RCCEx_PeriphCLKConfig(&PeriphClkInitStruct) != HAL_OK)
  {
    Error_Handler();
  }
}

void Error_Handler(void)
{
    __disable_irq();
    while (1)
    {
    }
}

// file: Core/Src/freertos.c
/* USER CODE BEGIN Header */
/**
  ******************************************************************************
  * File Name          : freertos.c
  * Description        : Code for freertos applications
  ******************************************************************************
  * @attention
  *
  * Copyright (c) 2026 STMicroelectronics.
  * All rights reserved.
  *
  * This software is licensed under terms that can be found in the LICENSE file
  * in the root directory of this software component.
  * If no LICENSE file comes with this software, it is provided AS-IS.
  *
  ******************************************************************************
  */
/* USER CODE END Header */

#include "FreeRTOS.h"
#include "task.h"
#include "main.h"
#include "cmsis_os.h"

/* USER CODE BEGIN Includes */
#include "Chassis_Task.h"
#include "HandleClamping_Task.h"
#include "Task_KFS_Arm.h"
#include "Task_UART.h"
#include "tsk_config_and_callback.h"
extern UART_HandleTypeDef huart7;

/* USER CODE END Includes */

/* Definitions for Task_KFS_Arm */
osThreadId_t Task_KFS_ArmHandle;
const osThreadAttr_t Task_KFS_Arm_attributes = {
  .name = "Task_KFS_Arm",
  .stack_size = 512 * 4,
  .priority = (osPriority_t) osPriorityNormal,
};
/* Definitions for Task_UART */
osThreadId_t Task_UARTHandle;
const osThreadAttr_t Task_UART_attributes = {
  .name = "Task_UART",
  .stack_size = 512 * 4,
  .priority = (osPriority_t) osPriorityLow,
};
/* Definitions for HandleClamping_ */
osThreadId_t HandleClamping_Handle;
const osThreadAttr_t HandleClamping__attributes = {
  .name = "HandleClamping_",
  .stack_size = 512 * 4,
  .priority = (osPriority_t) osPriorityNormal,
};
/* Definitions for Chassis */
osThreadId_t ChassisHandle;
const osThreadAttr_t Chassis_attributes = {
  .name = "Chassis",
  .stack_size = 512 * 4,
  .priority = (osPriority_t) osPriorityLow,
};

void Task_KFS_Arm_main(void *argument);
void Task_UART_main(void *argument);
void StartHandleClamping_Task(void *argument);
void StartTaskChassis(void *argument);

extern void MX_USB_DEVICE_Init(void);
void MX_FREERTOS_Init(void); /* (MISRA C 2004 rule 8.1) */

void MX_FREERTOS_Init(void) {
  /* USER CODE BEGIN Init */

  // Task_Init();
  //Task_KFS_Arm_Init();
  //Task_VOFA_TX_Init();

  /* USER CODE END Init */

  /* Create the thread(s) */
  /* creation of Task_KFS_Arm */
  Task_KFS_ArmHandle = osThreadNew(Task_KFS_Arm_main, NULL, &Task_KFS_Arm_attributes);

  /* creation of Task_UART */
  Task_UARTHandle = osThreadNew(Task_UART_main, NULL, &Task_UART_attributes);

  /* creation of HandleClamping_ */
  HandleClamping_Handle = osThreadNew(StartHandleClamping_Task, NULL, &HandleClamping__attributes);

  /* creation of Chassis */
  ChassisHandle = osThreadNew(StartTaskChassis, NULL, &Chassis_attributes);

}

void Task_KFS_Arm_main(void *argument)
{
  /* init code for USB_DEVICE */
  // MX_USB_DEVICE_Init();
  /* USER CODE BEGIN Task_KFS_Arm_main */
  /* Infinite loop */
  for(;;)
  {
    Task_KFS_Arm_Impl();
    osDelay(1);
  }
  /* USER CODE END Task_KFS_Arm_main */
}

void Task_UART_main(void *argument)
{
  /* USER CODE BEGIN Task_UART_main */
  Uart_Task();
  /* Infinite loop */
  for(;;)
  {
    //Task_VOFA_TX_Impl();
    osDelay(100);
  }
  /* USER CODE END Task_UART_main */
}

void StartHandleClamping_Task(void *argument)
{
  /* USER CODE BEGIN StartHandleClamping_Task */
  HandleClamping_Task();
  /* Infinite loop */
  for(;;)
  {
    osDelay(1);
  }
  /* USER CODE END StartHandleClamping_Task */
}

void StartTaskChassis(void *argument)
{
  /* USER CODE BEGIN StartTaskChassis */

    Chassis_Task(argument);
  /* Infinite loop */
  for(;;)
  {
    osDelay(1);
  }
  /* USER CODE END StartTaskChassis */
}
